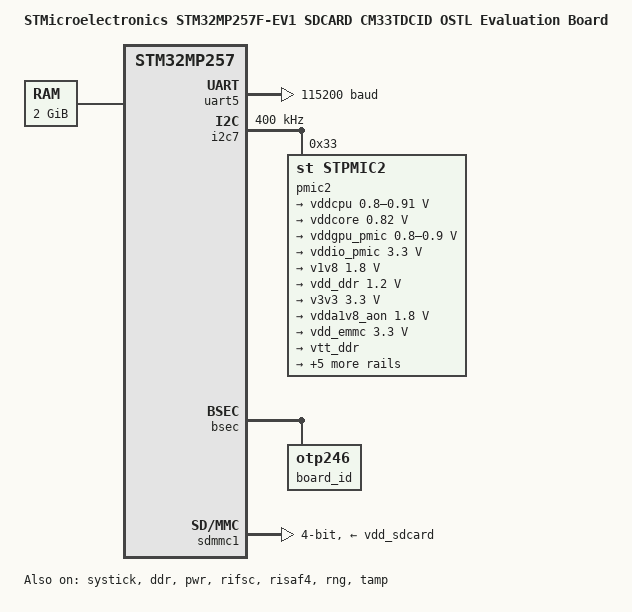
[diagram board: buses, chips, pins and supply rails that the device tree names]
// SPDX-License-Identifier: (GPL-2.0-only OR BSD-3-Clause)
/*
 * Copyright (C) STMicroelectronics 2023 - All Rights Reserved
 */

/dts-v1/;

#include <dt-bindings/clock/stm32mp25-clksrc.h>
#include <dt-bindings/reset/st,stm32mp25-rcc.h>
#include <dt-bindings/rif/stm32mp25-rif.h>
#include <dt-bindings/rif/stm32mp25-rifsc.h>
#include <dt-bindings/rif/stm32mp2-risaf.h>
#include <dt-bindings/rif/stm32mp25-risab.h>

#include "stm32mp257.dtsi"
#include "stm32mp25x-bl2.dtsi"
#include "stm32mp257f-ev1-cm33tdcid-ostl-bl2-resmem.dtsi"
#include "stm32mp257f-ev1-cm33tdcid-ostl-sdcard-bl2-rcc.dtsi"
#include "stm32mp257f-ev1-cm33tdcid-ostl-sdcard-bl2-rif.dtsi"
#include "stm32mp25-ddr4-2x16Gbits-2x16bits-1200MHz.dtsi"
#include "stm32mp25-pinctrl.dtsi"
#include "stm32mp25xxai-pinctrl.dtsi"

/ {
	model = "STMicroelectronics STM32MP257F-EV1 SDCARD CM33TDCID OSTL Evaluation Board";
	compatible = "st,stm32mp257f-ev1-cm33tdcid-ostl-sdcard", "st,stm32mp257f-ev1", "st,stm32mp257";

	aliases {
		serial0 = &uart5;
	};

	chosen {
		stdout-device = &uart5;
		tfm,entropy = &rng;
	};

	memory@80000000 {
		device_type = "memory";
		reg = <0x80000000 0x80000000>;
	};

	otp {
		nvmem-cells = <&implementation_id>,
			      <&rpn_otp>,
			      <&bootrom_config_9>,
			      <&id_otp>,
			      <&package_otp>,
			      <&hconf1_otp>,
			      <&bl2_rotpk_0>,
			      <&bl2_rotpk_0>, /*keep the same key for slot1 */
			      <&board_id>,
			      <&entropy_seed>,
			      <&iak>;
		nvmem-cell-names = "implementation_id",
				   "rpn_otp",
				   "bootrom_config_9",
				   "id_otp",
				   "package_otp",
				   "hconf1_otp",
				   "bl2_rotpk_0",
				   "bl2_rotpk_1",
				   "board_id",
				   "entropy_seed",
				   "iak";
	};

};

&uart5 {
	pinctrl-names = "default";
	pinctrl-0 = <&uart5_pins_a>;
	clocks = <&rcc CK_KER_UART5>;
	current-speed = <115200>;
	status = "okay";
};

&systick {
	clocks = <&rcc CK_ICN_HS_MCU>;
	clock-frequency = <1000000>; /* tick at 1us */
	status = "okay";
};

&i2c7 {
	pinctrl-names = "default", "sleep";
	pinctrl-0 = <&i2c7_pins_a>;
	pinctrl-1 = <&i2c7_sleep_pins_a>;
	i2c-scl-rising-time-ns = <185>;
	i2c-scl-falling-time-ns = <20>;
	clock-frequency = <400000>;
	status = "okay";

	#address-cells = <1>;
	#size-cells = <0>;

	pmic2: stpmic2@33 {
		compatible = "st,stpmic2";
		reg = <0x33>;
		status = "okay";

		regulators {
			compatible = "st,stpmic2-regulators";

			vddcpu: buck1 {
				regulator-name = "vddcpu";
				regulator-min-microvolt = <800000>;
				regulator-max-microvolt = <910000>;
				regulator-always-on;
			};
			vddcore: buck2 {
				regulator-name = "vddcore";
				regulator-min-microvolt = <820000>;
				regulator-max-microvolt = <820000>;
				regulator-always-on;
			};
			vddgpu_pmic: buck3 {
				regulator-name = "vddgpu_pmic";
				regulator-min-microvolt = <800000>;
				regulator-max-microvolt = <900000>;
				regulator-always-on;
			};
			vddio_pmic: buck4 {
				regulator-name = "vddio_pmic";
				regulator-min-microvolt = <3300000>;
				regulator-max-microvolt = <3300000>;
				regulator-always-on;
				st,mask-reset;
			};
			v1v8: buck5 {
				regulator-name = "v1v8";
				regulator-min-microvolt = <1800000>;
				regulator-max-microvolt = <1800000>;
				regulator-always-on;
			};
			vdd_ddr: buck6 {
				regulator-name = "vdd_ddr";
				regulator-min-microvolt = <1200000>;
				regulator-max-microvolt = <1200000>;
			};
			v3v3: buck7 {
				regulator-name = "v3v3";
				regulator-min-microvolt = <3300000>;
				regulator-max-microvolt = <3300000>;
				regulator-always-on;
			};
			vdda1v8_aon: ldo1 {
				regulator-name = "vdda1v8_aon";
				regulator-min-microvolt = <1800000>;
				regulator-max-microvolt = <1800000>;
				regulator-always-on;
				st,mask-reset;
			};
			vdd_emmc: ldo2 {
				regulator-name = "vdd_emmc";
				regulator-min-microvolt = <3300000>;
				regulator-max-microvolt = <3300000>;
			};
			vtt_ddr: ldo3 {
				regulator-name = "vtt_ddr";
				st,regulator-sink-source;
			};
			vdd3v3_usb: ldo4 {
				regulator-name = "vdd3v3_usb";
				regulator-min-microvolt = <3300000>;
				regulator-max-microvolt = <3300000>;
				regulator-always-on;
			};
			vpp_ddr: ldo5 {
				regulator-name = "vpp_ddr";
				regulator-min-microvolt = <2500000>;
				regulator-max-microvolt = <2500000>;
			};
			vdd_sdcard: ldo7 {
				regulator-name = "vdd_sdcard";
				regulator-min-microvolt = <3300000>;
				regulator-max-microvolt = <3300000>;
				regulator-always-on;
				st,regulator-bypass-microvolt = <3300000>;
			};
			vddio_sdcard: ldo8 {
				regulator-name = "vddio_sdcard";
				regulator-min-microvolt = <1800000>;
				regulator-max-microvolt = <3300000>;
				st,regulator-bypass-microvolt = <3300000>;
			};
			vref_ddr: refddr {
				regulator-name = "vref_ddr";
			};
		};
	};
};

&ddr {
	vpp-supply = <&vpp_ddr>;
	vdd-supply = <&vdd_ddr>;
	vref-supply = <&vref_ddr>;
	vtt-supply = <&vtt_ddr>;
	status = "okay";
};

&bsec {
	memory-region = <&bsec_mirror>;
	status = "okay";

	board_id: otp246@3d8 {
		#nvmem-cell-cells = <0>;
		reg = <0x3d8 0x4>;
	};
};

&pwr {
	status = "okay";

	vdd33ucpd: vdd33ucpd {
		status = "okay";
		regulator-min-microvolt = <3300000>;
		regulator-max-microvolt = <3300000>;
		vin-supply = <&vdd3v3_usb>;
		regulator-always-on;
	};

	vdda18adc: vdda18adc {
		status = "okay";
		regulator-min-microvolt = <1800000>;
		regulator-max-microvolt = <1800000>;
		vin-supply = <&v1v8>;
		regulator-always-on;
	};

	vddgpu: vddgpu {
		status = "okay";
		vin-supply = <&vddgpu_pmic>;
	};

	vddio1: vddio1 {
		status = "okay";
		regulator-min-microvolt = <1800000>;
		regulator-max-microvolt = <3300000>;
		vin-supply = <&vddio_sdcard>;
	};

	vddio2: vddio2 {
		status = "okay";
		vin-supply = <&v1v8>;
		regulator-always-on;
	};

	vddio3: vddio3 {
		status = "okay";
		vin-supply = <&vddio_pmic>;
		regulator-always-on;
	};

	vddio4: vddio4 {
		status = "okay";
		vin-supply = <&vddio_pmic>;
		regulator-always-on;
	};

	vddio: vddio {
		status = "okay";
		vin-supply = <&vddio_pmic>;
	};
};

&hconf1_otp {
	shadow-provisionning = <0x00018000>;
};

&rifsc {
	status = "okay";
};

&risaf4 {
	status = "okay";
};

&rng {
	status = "okay";
};

&sdmmc1 {
	pinctrl-names = "default";
	pinctrl-0 = <&sdmmc1_b4_pins_a>;
	st,neg-edge;
	no-mmc;
	bus-width = <4>;
	vmmc-supply = <&vdd_sdcard>;
	vqmmc-supply = <&vddio1>;
	status = "okay";
};

&tamp {
	status = "okay";
};
